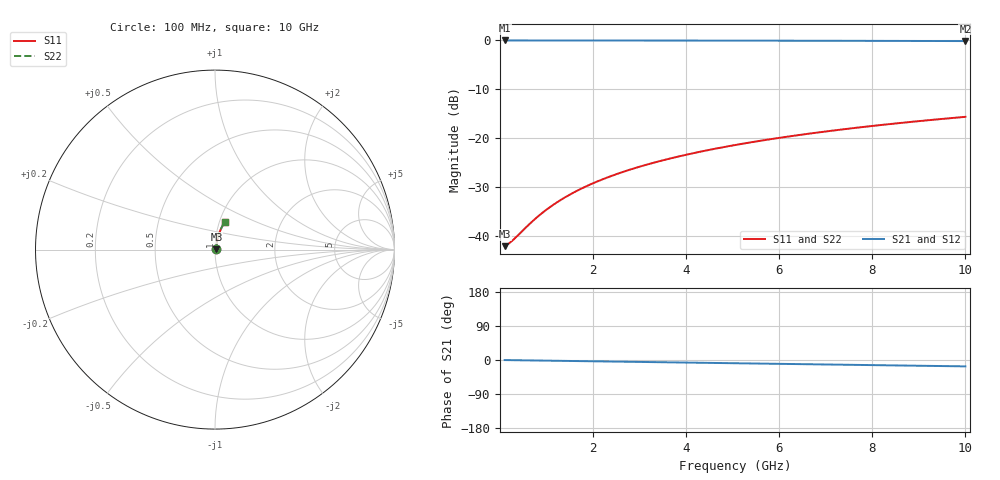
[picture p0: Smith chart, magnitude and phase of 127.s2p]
# Hz S RI R 50.00
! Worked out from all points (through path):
!   100 points, 100 MHz to 10 GHz, reference 50 ohm
!   highest |S21| = -0.07 dB at 100 MHz (marker M1); lowest = -0.2 dB at 10 GHz (marker M2)
!   group delay of S21, straight-line fit = 4.67 ps
!   lowest |S11| = -42.0 dB at 100 MHz (marker M3), VSWR 1.02, Z = 50.8 + j0.169 ohm
!   |S11| at or under -10 dB: start of sweep to end of sweep
!   |S22| runs from -42.0 to -15.7 dB; largest |S21 - S12| = 0
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1e8  0.00772 0.00166  0.9923 -0.00293  0.9923 -0.00293  0.00772 0.00166
2e8  0.00779 0.00333  0.9922 -0.00587  0.9922 -0.00587  0.00779 0.00333
3e8  0.00785 0.00499  0.9921 -0.0088  0.9921 -0.0088  0.00785 0.00499
7e8  0.00815 0.0116  0.9918 -0.0205  0.9918 -0.0205  0.00815 0.0116
8e8  0.00824 0.0133  0.9917 -0.0235  0.9917 -0.0235  0.00824 0.0133
1e9  0.00845 0.0166  0.9915 -0.0293  0.9915 -0.0293  0.00845 0.0166
1.2e9  0.00869 0.0199  0.9912 -0.0352  0.9912 -0.0352  0.00869 0.0199
1.4e9  0.00897 0.0232  0.9909 -0.041  0.9909 -0.041  0.00897 0.0232
1.6e9  0.00929 0.0265  0.9905 -0.0469  0.9905 -0.0469  0.00929 0.0265
1.8e9  0.00965 0.0298  0.9901 -0.0527  0.9901 -0.0527  0.00965 0.0298
2.1e9  0.0103 0.0348  0.9894 -0.0615  0.9894 -0.0615  0.0103 0.0348
2.5e9  0.0112 0.0414  0.9883 -0.0732  0.9883 -0.0732  0.0112 0.0414
2.9e9  0.0123 0.0479  0.987 -0.0848  0.987 -0.0848  0.0123 0.0479
3.4e9  0.0139 0.056  0.9852 -0.0993  0.9852 -0.0993  0.0139 0.056
3.8e9  0.0153 0.0625  0.9835 -0.1108  0.9835 -0.1108  0.0153 0.0625
4.2e9  0.0169 0.0689  0.9817 -0.1224  0.9817 -0.1224  0.0169 0.0689
5.1e9  0.021 0.0832  0.9769 -0.1481  0.9769 -0.1481  0.021 0.0832
5.9e9  0.0252 0.0957  0.9719 -0.1708  0.9719 -0.1708  0.0252 0.0957
6.7e9  0.03 0.1079  0.9662 -0.1933  0.9662 -0.1933  0.03 0.1079
7.5e9  0.0354 0.1199  0.9599 -0.2154  0.9599 -0.2154  0.0354 0.1199
8.4e9  0.0421 0.133  0.952 -0.24  0.952 -0.24  0.0421 0.133
1e10  0.0556 0.1552  0.9361 -0.2828  0.9361 -0.2828  0.0556 0.1552
